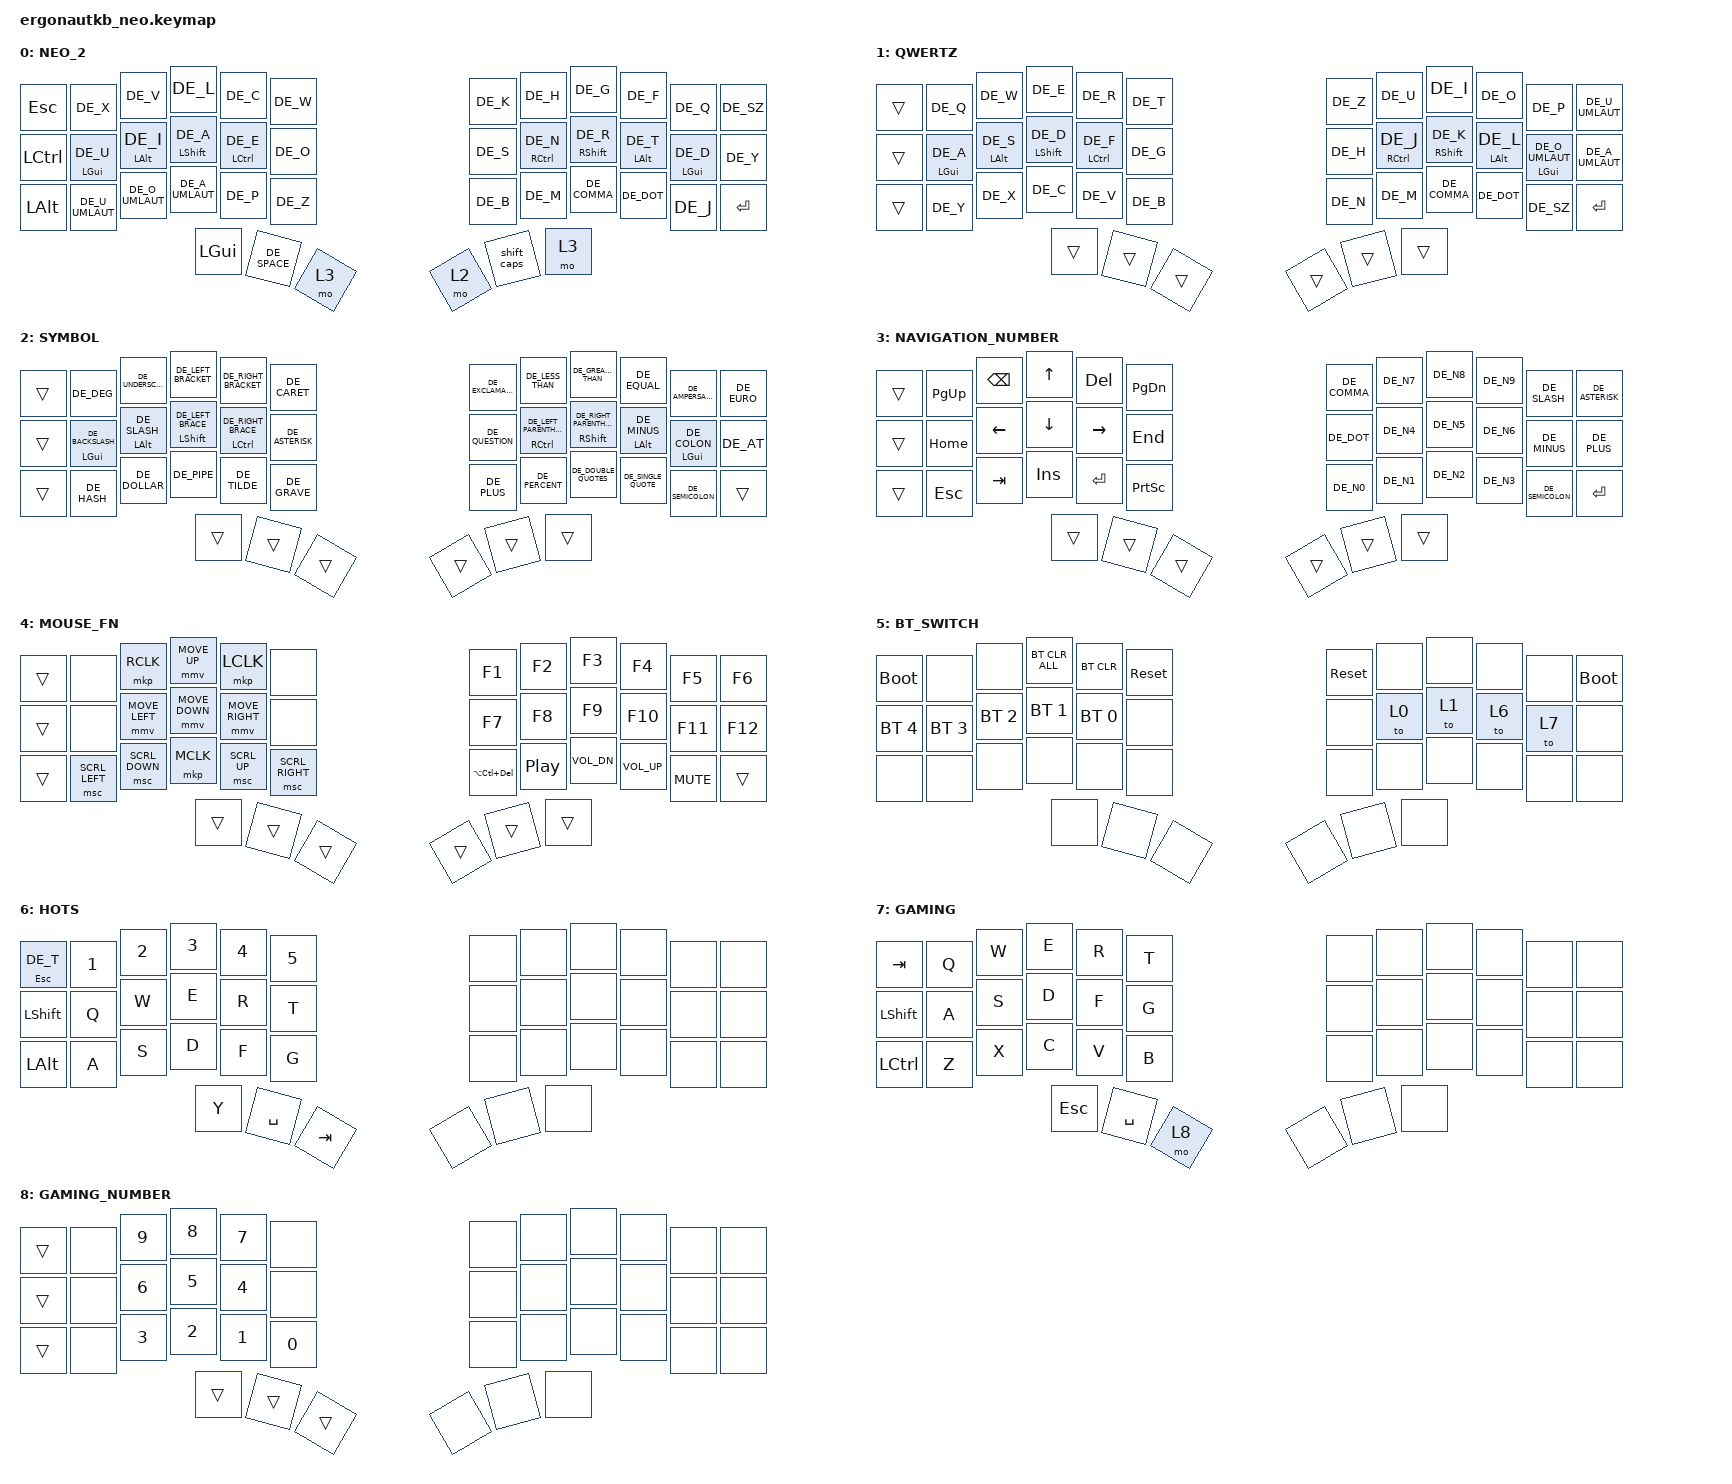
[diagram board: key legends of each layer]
#include <behaviors.dtsi>
#include <dt-bindings/zmk/bt.h>
#include <dt-bindings/zmk/keys.h>
#include <dt-bindings/zmk/pointing.h>
#include "keys_de.h"

#define NEO 0
#define QWE 1
#define SYM 2
#define NAV 3
#define M_F 4
#define SYS 5
#define HTS 6
#define GAM 7
#define G_N 8

&mt {
    quick-tap-ms = <50>;
    flavor = "balanced";
    hold-trigger-key-positions = <18 6 7 31 19 21 8 32 10 9 20 34 23 33 22 35 11 30 40 41 39>;
    hold-trigger-on-release;
    require-prior-idle-ms = <50>;
};

&sl { release-after-ms = <5000>; };

/ {
    behaviors {
        rmt: rmt {
            compatible = "zmk,behavior-hold-tap";
            label = "RMT";
            bindings = <&kp>, <&kp>;

            #binding-cells = <2>;
            flavor = "balanced";
            hold-trigger-key-positions = <0 1 2 3 4 5 12 24 25 13 14 26 27 15 16 28 29 17 36 37 38>;
            hold-trigger-on-release;
            tapping-term-ms = <200>;
        };

        shift_caps: shift_caps {
            compatible = "zmk,behavior-tap-dance";
            label = "SHIFT_CAPS";
            #binding-cells = <0>;
            bindings = <&kp LEFT_SHIFT>, <&kp LEFT_SHIFT>, <&kp CAPSLOCK>;
        };

        lmt: lmt {
            compatible = "zmk,behavior-hold-tap";
            label = "LMT";
            bindings = <&kp>, <&kp>;

            #binding-cells = <2>;
            tapping-term-ms = <200>;
            flavor = "balanced";
            hold-trigger-key-positions = <6 18 30 39 40 41 7 8 9 10 11 19 20 21 22 23 31 32 33 34 35>;
            hold-trigger-on-release;
        };
    };

    combos {
        compatible = "zmk,combos";

        bt_layers_left {
            bindings = <&sl 5>;
            key-positions = <38 0 5>;
        };

        bt_layers_right {
            bindings = <&sl 5>;
            key-positions = <6 11 39>;
        };
    };

    keymap {
        compatible = "zmk,keymap";

        neo2_layer {
            display-name = "NEO_2";
            bindings = <
&kp ESCAPE        &kp DE_X            &kp DE_V            &kp DE_L              &kp DE_C                &kp DE_W    &kp DE_K  &kp DE_H                 &kp DE_G               &kp DE_F            &kp DE_Q            &kp DE_SZ
&kp LEFT_CONTROL  &lmt LEFT_GUI DE_U  &lmt LEFT_ALT DE_I  &lmt LEFT_SHIFT DE_A  &lmt LEFT_CONTROL DE_E  &kp DE_O    &kp DE_S  &rmt RIGHT_CONTROL DE_N  &rmt RIGHT_SHIFT DE_R  &rmt LEFT_ALT DE_T  &rmt LEFT_GUI DE_D  &kp DE_Y
&kp LEFT_ALT      &kp DE_U_UMLAUT     &kp DE_O_UMLAUT     &kp DE_A_UMLAUT       &kp DE_P                &kp DE_Z    &kp DE_B  &kp DE_M                 &kp DE_COMMA           &kp DE_DOT          &kp DE_J            &kp ENTER
                                                          &kp LEFT_GUI          &kp DE_SPACE            &mo 3       &mo 2     &shift_caps              &mo 3
            >;
        };

        qwertz_layer {
            display-name = "QWERTZ";
            bindings = <
&trans  &kp DE_Q            &kp DE_W            &kp DE_E              &kp DE_R                &kp DE_T    &kp DE_Z  &kp DE_U                 &kp DE_I               &kp DE_O            &kp DE_P                   &kp DE_U_UMLAUT
&trans  &lmt LEFT_GUI DE_A  &lmt LEFT_ALT DE_S  &lmt LEFT_SHIFT DE_D  &lmt LEFT_CONTROL DE_F  &kp DE_G    &kp DE_H  &rmt RIGHT_CONTROL DE_J  &rmt RIGHT_SHIFT DE_K  &rmt LEFT_ALT DE_L  &rmt LEFT_GUI DE_O_UMLAUT  &kp DE_A_UMLAUT
&trans  &kp DE_Y            &kp DE_X            &kp DE_C              &kp DE_V                &kp DE_B    &kp DE_N  &kp DE_M                 &kp DE_COMMA           &kp DE_DOT          &kp DE_SZ                  &kp ENTER
                                                &trans                &trans                  &trans      &trans    &trans                   &trans
            >;
        };

        symbol_layer {
            display-name = "SYMBOL";
            bindings = <
&trans  &kp DE_DEG                  &kp DE_UNDERSCORE       &kp DE_LEFT_BRACKET            &kp DE_RIGHT_BRACKET              &kp DE_CARET       &kp DE_EXCLAMATION  &kp DE_LESS_THAN                        &kp DE_GREATER_THAN                    &kp DE_EQUAL            &kp DE_AMPERSAND        &kp DE_EURO
&trans  &lmt LEFT_GUI DE_BACKSLASH  &lmt LEFT_ALT DE_SLASH  &lmt LEFT_SHIFT DE_LEFT_BRACE  &lmt LEFT_CONTROL DE_RIGHT_BRACE  &kp DE_ASTERISK    &kp DE_QUESTION     &rmt RIGHT_CONTROL DE_LEFT_PARENTHESIS  &rmt RIGHT_SHIFT DE_RIGHT_PARENTHESIS  &rmt LEFT_ALT DE_MINUS  &rmt LEFT_GUI DE_COLON  &kp DE_AT
&trans  &kp DE_HASH                 &kp DE_DOLLAR           &kp DE_PIPE                    &kp DE_TILDE                      &kp DE_GRAVE       &kp DE_PLUS         &kp DE_PERCENT                          &kp DE_DOUBLE_QUOTES                   &kp DE_SINGLE_QUOTE     &kp DE_SEMICOLON        &trans
                                                            &trans                         &trans                            &trans             &trans              &trans                                  &trans
            >;
        };

        navigation_number_layer {
            display-name = "NAVIGATION_NUMBER";
            bindings = <
&trans  &kp PAGE_UP  &kp BSPC        &kp UP    &kp DELETE  &kp PAGE_DOWN      &kp DE_COMMA  &kp DE_N7  &kp DE_N8  &kp DE_N9  &kp DE_SLASH      &kp DE_ASTERISK
&trans  &kp HOME     &kp LEFT_ARROW  &kp DOWN  &kp RIGHT   &kp END            &kp DE_DOT    &kp DE_N4  &kp DE_N5  &kp DE_N6  &kp DE_MINUS      &kp DE_PLUS
&trans  &kp ESCAPE   &kp TAB         &kp INS   &kp ENTER   &kp PRINTSCREEN    &kp DE_N0     &kp DE_N1  &kp DE_N2  &kp DE_N3  &kp DE_SEMICOLON  &kp ENTER
                                     &trans    &trans      &trans             &trans        &trans     &trans
            >;
        };

        mouse_fn_layer {
            display-name = "MOUSE_FN";
            bindings = <
&trans  &none           &mkp RCLK       &mmv MOVE_UP    &mkp LCLK        &none              &kp F1              &kp F2            &kp F3        &kp F4           &kp F5      &kp F6
&trans  &none           &mmv MOVE_LEFT  &mmv MOVE_DOWN  &mmv MOVE_RIGHT  &none              &kp F7              &kp F8            &kp F9        &kp F10          &kp F11     &kp F12
&trans  &msc SCRL_LEFT  &msc SCRL_DOWN  &mkp MCLK       &msc SCRL_UP     &msc SCRL_RIGHT    &kp LA(LC(DELETE))  &kp C_PLAY_PAUSE  &kp C_VOL_DN  &kp C_VOLUME_UP  &kp C_MUTE  &trans
                                        &trans          &trans           &trans             &trans              &trans            &trans
            >;
        };

        bt_switch_layer {
            bindings = <
&bootloader   &none         &none         &bt BT_CLR_ALL  &bt BT_CLR    &sys_reset    &sys_reset  &none  &none  &none  &none  &bootloader
&bt BT_SEL 4  &bt BT_SEL 3  &bt BT_SEL 2  &bt BT_SEL 1    &bt BT_SEL 0  &none         &none       &to 0  &to 1  &to 6  &to 7  &none
&none         &none         &none         &none           &none         &none         &none       &none  &none  &none  &none  &none
                                          &none           &none         &none         &none       &none  &none
            >;

            label = "BT_SWITCH";
        };

        hots_layer {
            bindings = <
&mt ESCAPE DE_T  &kp N1  &kp N2  &kp N3  &kp N4     &kp N5     &none  &none  &none  &none  &none  &none
&kp LSHFT        &kp Q   &kp W   &kp E   &kp R      &kp T      &none  &none  &none  &none  &none  &none
&kp LEFT_ALT     &kp A   &kp S   &kp D   &kp F      &kp G      &none  &none  &none  &none  &none  &none
                                 &kp Y   &kp SPACE  &kp TAB    &none  &none  &none
            >;

            label = "HOTS";
        };

        gaming_layer {
            bindings = <
&kp TAB           &kp Q  &kp W  &kp E    &kp R      &kp T    &none  &none  &none  &none  &none  &none
&kp LSHFT         &kp A  &kp S  &kp D    &kp F      &kp G    &none  &none  &none  &none  &none  &none
&kp LEFT_CONTROL  &kp Z  &kp X  &kp C    &kp V      &kp B    &none  &none  &none  &none  &none  &none
                                &kp ESC  &kp SPACE  &mo 8    &none  &none  &none
            >;

            label = "GAMING";
        };

        gaming_number_layer {
            bindings = <
&trans  &none  &kp N9  &kp N8  &kp N7  &none     &none  &none  &none  &none  &none  &none
&trans  &none  &kp N6  &kp N5  &kp N4  &none     &none  &none  &none  &none  &none  &none
&trans  &none  &kp N3  &kp N2  &kp N1  &kp N0    &none  &none  &none  &none  &none  &none
                       &trans  &trans  &trans    &none  &none  &none
            >;

            label = "GAMING_NUMBER";
        };
    };

    conditional_layers {
        compatible = "zmk,conditional-layers";

        tri-layer {
            if-layers = <2 3>;
            then-layer = <4>;
        };
    };
};
